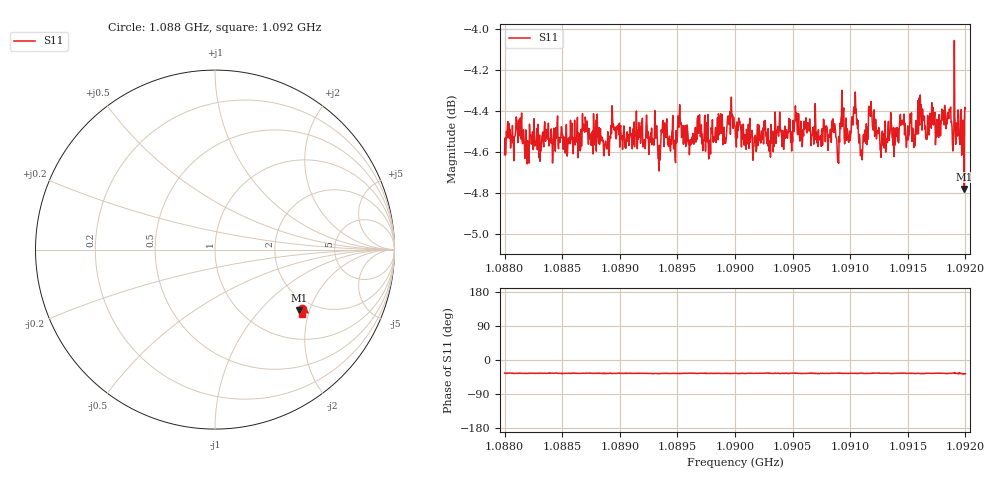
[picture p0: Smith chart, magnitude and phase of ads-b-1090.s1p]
! Calibrated averaged scanner-service zoom
# Hz S RI R 50
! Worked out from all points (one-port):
!   1001 points, 1.088 GHz to 1.092 GHz, reference 50 ohm
!   lowest |S11| = -4.8 dB at 1.09199 GHz (marker M1), VSWR 3.73, Z = 83.8 - j84.9 ohm
!   |S11| at or under -10 dB: nowhere
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1.088e9  0.4842 -0.3334
1.088092e9  0.4881 -0.3391
1.088192e9  0.4785 -0.3407
1.088432e9  0.4898 -0.3391
1.0885e9  0.484 -0.3451
1.089e9  0.4808 -0.3428
1.089336e9  0.4764 -0.3425
1.089388e9  0.4899 -0.3438
1.0895e9  0.4864 -0.3407
1.08962e9  0.4852 -0.3404
1.09e9  0.4875 -0.3455
1.0905e9  0.4879 -0.3355
1.0906e9  0.4895 -0.3454
1.090892e9  0.4798 -0.3355
1.091e9  0.4858 -0.3395
1.091032e9  0.4945 -0.3459
1.091092e9  0.482 -0.3363
1.091168e9  0.4906 -0.3502
1.091232e9  0.4905 -0.3372
1.09136e9  0.4851 -0.3484
1.091448e9  0.4935 -0.3395
1.0915e9  0.4891 -0.3433
1.091628e9  0.4908 -0.3507
1.091676e9  0.4908 -0.3432
1.091844e9  0.4875 -0.3504
1.091888e9  0.4855 -0.3373
1.091988e9  0.4673 -0.338
1.092e9  0.4863 -0.3572
